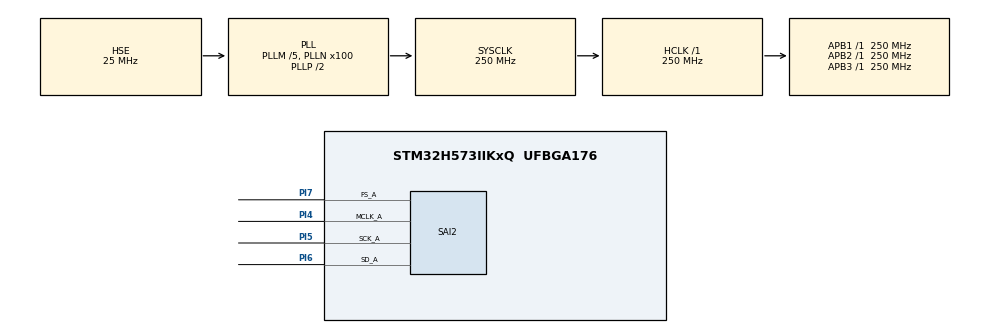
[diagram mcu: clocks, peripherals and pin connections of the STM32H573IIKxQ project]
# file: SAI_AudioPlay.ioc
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CORTEX_M33_NS.userName=CORTEX_M33
GPDMA1.LINKEDLISTMODE_GPDMACH7=DMA_LINKEDLIST_CIRCULAR
GPDMA1.PRIORITY_LL_GPDMACH7=DMA_HIGH_PRIORITY
Linkedlist.MDMA_Channel0.GP_SW.0.BlkHWRequest=DMA_BREQ_SINGLE_BURST
Linkedlist.MDMA_Channel0.GP_SW.0.DataHandling=NONE
Linkedlist.MDMA_Channel0.GP_SW.0.DataSize=0
Linkedlist.MDMA_Channel0.GP_SW.0.DestBurstLength=1
Linkedlist.MDMA_Channel0.GP_SW.0.DestDataWidth=DMA_DEST_DATAWIDTH_HALFWORD
Linkedlist.MDMA_Channel0.GP_SW.0.DestInc=DMA_DINC_FIXED
Linkedlist.MDMA_Channel0.GP_SW.0.Direction=DMA_MEMORY_TO_PERIPH
Linkedlist.MDMA_Channel0.GP_SW.0.DstAddress=0
Linkedlist.MDMA_Channel0.GP_SW.0.Instance=MDMA_Channel0
Linkedlist.MDMA_Channel0.GP_SW.0.LL_MASTERDMA=GPDMA1
Linkedlist.MDMA_Channel0.GP_SW.0.LL_NAME=SAIQueue
Linkedlist.MDMA_Channel0.GP_SW.0.LL_TYPE=LINEAR
Linkedlist.MDMA_Channel0.GP_SW.0.Mode=DMA_NORMAL
Linkedlist.MDMA_Channel0.GP_SW.0.NODE_NAME=NodeTx
Linkedlist.MDMA_Channel0.GP_SW.0.Requestforcodegen=GPDMA1_REQUEST_SAI2_A
Linkedlist.MDMA_Channel0.GP_SW.0.SrcAddress=0
Linkedlist.MDMA_Channel0.GP_SW.0.SrcBurstLength=1
Linkedlist.MDMA_Channel0.GP_SW.0.SrcDataWidth=DMA_SRC_DATAWIDTH_HALFWORD
Linkedlist.MDMA_Channel0.GP_SW.0.SrcInc=DMA_SINC_INCREMENTED
Linkedlist.MDMA_Channel0.GP_SW.0.TransferAllocatedPortSrc=DMA_SRC_ALLOCATED_PORT0
Linkedlist.MDMA_Channel0.GP_SW.0.TransferEventMode=DMA_TCEM_BLOCK_TRANSFER
Linkedlist.MDMA_Channel0.GP_SW.0.TriggerPolarity=DMA_TRIG_POLARITY_MASKED
Linkedlist.MDMA_Channel0.Request0=GP_SW
Linkedlist.MDMA_Channel0.RequestsNb=1
Linkedlist.RequestSet0=MDMA_Channel0
Linkedlist.RequestSetsNb=1
Mcu.Family=STM32H5
Mcu.Name=STM32H573IIKxQ
Mcu.Package=UFBGA176
NVIC.GPDMA1_Channel7_IRQn=true\:0\:0\:false\:false\:true\:true\:true\:true
NVIC.PriorityGroup=NVIC_PRIORITYGROUP_4
PH0-OSC_IN(PH0).Mode=HSE-DIG-External-Clock-Source
PH0-OSC_IN(PH0).Signal=RCC_OSC_IN
PI4.Mode=SAI_A_MasterWithClock
PI4.Signal=SAI2_MCLK_A
PI5.Mode=SAI_A_MasterWithClock
PI5.Signal=SAI2_SCK_A
PI6.Mode=SAI_A_MasterWithClock
PI6.Signal=SAI2_SD_A
PI7.Mode=SAI_A_MasterWithClock
PI7.Signal=SAI2_FS_A
ProjectManager.HeapSize=0x200
ProjectManager.StackSize=0x400
ProjectManager.TargetToolchain=EWARM V9.20
RCC.ADCFreq_Value=250000000
RCC.AHBFreq_Value=250000000
RCC.APB1Freq_Value=250000000
RCC.APB1TimFreq_Value=250000000
RCC.APB2Freq_Value=250000000
RCC.APB2TimFreq_Value=250000000
RCC.APB3Freq_Value=250000000
RCC.CSI_VALUE=4000000
RCC.CortexFreq_Value=250000000
RCC.EPOD_VALUE=25000000
RCC.HCLKFreq_Value=250000000
RCC.HSE_VALUE=25000000
RCC.HSI48_VALUE=48000000
RCC.HSIDiv=RCC_HSI_DIV1
RCC.HSI_VALUE=64000000
RCC.LSE_VALUE=32768
RCC.LSIRC_VALUE=32000
RCC.PLL2M=16
RCC.PLL2N=80
RCC.PLL2P=28
RCC.PLL2Source=RCC_PLL2_SOURCE_HSI
RCC.PLLM=5
RCC.PLLN=100
RCC.PLLSourceVirtual=RCC_PLL1_SOURCE_HSE
RCC.SYSCLKFreq_VALUE=250000000
RCC.SYSCLKSource=RCC_SYSCLKSOURCE_PLLCLK
RCC.USBFreq_Value=48000000
RCC.VCOOutputFreq_Value=500000000
SAI2.ActiveFrameLength-SAI_A_MasterWithClock=16
SAI2.AudioFrequency-SAI_A_MasterWithClock=SAI_AUDIO_FREQUENCY_22K
SAI2.DataSize-SAI_A_MasterWithClock=SAI_DATASIZE_16
SAI2.ErrorAudioFreq-SAI_A_MasterWithClock=1.45 %
SAI2.FIFOThreshold-SAI_A_MasterWithClock=SAI_FIFOTHRESHOLD_1QF
SAI2.FSDefinition-SAI_A_MasterWithClock=SAI_FS_CHANNEL_IDENTIFICATION
SAI2.FSOffset-SAI_A_MasterWithClock=SAI_FS_BEFOREFIRSTBIT
SAI2.FrameLength-SAI_A_MasterWithClock=32
SAI2.Instance-SAI_A_MasterWithClock=SAI$Index_Block_A
SAI2.MckOutput-SAI_A_MasterWithClock=SAI_MCK_OUTPUT_ENABLE
SAI2.RealAudioFreq-SAI_A_MasterWithClock=22.321 KHz
SAI2.SlotActive-SAI_A_MasterWithClock=0x00000003
SAI2.SlotNumber-SAI_A_MasterWithClock=2
SAI2.VirtualMode-SAI_A_MasterWithClock=VM_MASTER
SAI2.VirtualSlotActive-SAI_A_MasterWithClock=SAI_SLOT_USERSETTING
SAI2.VirtualSlotActive0-SAI_A_MasterWithClock=true
SAI2.VirtualSlotActive1-SAI_A_MasterWithClock=true
VP_GPDMA1_VS_GPDMACH7.Mode=LINKEDLIST_GPDMACH7
VP_ICACHE_VS_ICACHE.Mode=DefaultMode
VP_PWR_VS_SECSignals.Mode=Security/Privilege
board=custom

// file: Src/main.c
/* USER CODE BEGIN Header */
/**
  ******************************************************************************
  * @file           : main.c
  * @brief          : Main program body
  ******************************************************************************
  * @attention
  *
  * Copyright (c) 2023 STMicroelectronics.
  * All rights reserved.
  *
  * This software is licensed under terms that can be found in the LICENSE file
  * in the root directory of this software component.
  * If no LICENSE file comes with this software, it is provided AS-IS.
  *
  ******************************************************************************
  */
/* USER CODE END Header */
#include "main.h"

/* USER CODE BEGIN Includes */
#include "linked_list.h"
/* USER CODE END Includes */

DMA_HandleTypeDef handle_GPDMA1_Channel7;

SAI_HandleTypeDef hsai_BlockA2;

/* USER CODE BEGIN PV */
static AUDIO_Drv_t *AudioDrv = NULL;
void *AudioCompObj;

/* Buffer location should aligned to cache line size (32 bytes) */
uint16_t PlayBuff[PLAY_BUFF_SIZE];

__IO int16_t UpdatePointer = -1;
  CS42L51_Init_t codec_init;
 extern DMA_QListTypeDef SAIQueue;
 extern DMA_NodeTypeDef NodeTx;

/* USER CODE END PV */

void SystemClock_Config(void);
static void MX_GPIO_Init(void);
static void MX_GPDMA1_Init(void);
static void MX_ICACHE_Init(void);
static void MX_SAI2_Init(void);
/* USER CODE BEGIN PFP */
static int32_t CS42L51_Probe(void);
static int32_t CS42L51_PowerUp(void);
/* USER CODE END PFP */

int main(void)
{

  /* USER CODE BEGIN 1 */
  /* STM32H5xx HAL library initialization:
       - Systick timer is configured by default as source of time base, but user
             can eventually implement his proper time base source (a general purpose
             timer for example or other time source), keeping in mind that Time base
             duration should be kept 1ms since PPP_TIMEOUT_VALUEs are defined and
             handled in milliseconds basis.
       - Set NVIC Group Priority to 4
       - Low Level Initialization
     */
  /* USER CODE END 1 */

  /* MCU Configuration--------------------------------------------------------*/

  /* Reset of all peripherals, Initializes the Flash interface and the Systick. */
  HAL_Init();

  /* USER CODE BEGIN Init */
  uint32_t PlaybackPosition   = PLAY_BUFF_SIZE + PLAY_HEADER;
  /* USER CODE END Init */

  /* Configure the system clock */
  SystemClock_Config();

  /* Initialize all configured peripherals */
  MX_GPIO_Init();
  MX_GPDMA1_Init();
  MX_ICACHE_Init();
  MX_SAI2_Init();
  /* USER CODE BEGIN 2 */
  BSP_LED_Init(LED1);
  BSP_LED_Init(LED3);

  /* Check if the buffer has been loaded in flash */
  if(*((uint64_t *)AUDIO_FILE_ADDRESS) != 0x017EFE2446464952 ) Error_Handler();

    /* Associate the DMA handle */
  __HAL_LINKDMA(&hsai_BlockA2, hdmatx, handle_GPDMA1_Channel7);

   MX_SAIQueue_Config();

  /* DMA node configuration declaration */
  DMA_NodeConfTypeDef pNodeConfig;

  /* Set node configuration ################################################*/
  pNodeConfig.NodeType = DMA_GPDMA_LINEAR_NODE;
  pNodeConfig.Init.Request = GPDMA1_REQUEST_SAI2_A;
  pNodeConfig.Init.BlkHWRequest = DMA_BREQ_SINGLE_BURST;
  pNodeConfig.Init.Direction = DMA_MEMORY_TO_PERIPH;
  pNodeConfig.Init.SrcInc = DMA_SINC_INCREMENTED;
  pNodeConfig.Init.DestInc = DMA_DINC_FIXED;
  pNodeConfig.Init.SrcDataWidth = DMA_SRC_DATAWIDTH_HALFWORD;
  pNodeConfig.Init.DestDataWidth = DMA_DEST_DATAWIDTH_HALFWORD;
  pNodeConfig.Init.SrcBurstLength = 1;
  pNodeConfig.Init.DestBurstLength = 1;
  pNodeConfig.Init.Mode = DMA_NORMAL;
  pNodeConfig.Init.TransferAllocatedPort = DMA_SRC_ALLOCATED_PORT0|DMA_DEST_ALLOCATED_PORT0;
  pNodeConfig.Init.TransferEventMode = DMA_TCEM_BLOCK_TRANSFER;
  pNodeConfig.TriggerConfig.TriggerPolarity = DMA_TRIG_POLARITY_MASKED;
  pNodeConfig.DataHandlingConfig.DataExchange = DMA_EXCHANGE_NONE;
  pNodeConfig.DataHandlingConfig.DataAlignment = DMA_DATA_RIGHTALIGN_ZEROPADDED;
  pNodeConfig.SrcAddress = 0;
  pNodeConfig.DstAddress = 0;
  pNodeConfig.DataSize = 0;

  /* Build NodeTx Node */
  HAL_DMAEx_List_BuildNode(&pNodeConfig, &NodeTx);

  /* Insert NodeTx to Queue */
  HAL_DMAEx_List_InsertNode_Tail(&SAIQueue, &NodeTx);

  /* Set queue circular mode for sai queue */
  HAL_DMAEx_List_SetCircularMode(&SAIQueue);

  /* Link SAI queue to DMA channel */
  HAL_DMAEx_List_LinkQ(&handle_GPDMA1_Channel7, &SAIQueue);

  CS42L51_PowerUp();
  CS42L51_Probe();

 /* Fill codec_init structure */
 codec_init.InputDevice  = CS42L51_IN_NONE;
 codec_init.OutputDevice = CS42L51_OUT_HEADPHONE;
 codec_init.Frequency    = AUDIO_FREQUENCY_22K;
 codec_init.Resolution   = CS42L51_RESOLUTION_16B; /* Not used */
 codec_init.Volume       = 80;

 /* Initialize the codec internal registers */
 if(AudioDrv->Init(AudioCompObj, &codec_init) < 0)
 {
   Error_Handler();
 }

  /* Initialize the data buffer */
  for(int i=0; i < PLAY_BUFF_SIZE; i+=2)
  {
    PlayBuff[i]=*((__IO uint16_t *)(AUDIO_FILE_ADDRESS + PLAY_HEADER + i));
  }

  /* Start the playback */
  if(0 != AudioDrv->Play(AudioCompObj))
  {
    Error_Handler();
  }

  if(HAL_OK != HAL_SAI_Transmit_DMA(&hsai_BlockA2, (uint8_t *)PlayBuff, PLAY_BUFF_SIZE))
  {
    Error_Handler();
  }

  /* USER CODE END 2 */

  /* Infinite loop */
  while (1)
  {

    /* USER CODE BEGIN 3 */
     BSP_LED_Toggle(LED1);

    /* Wait a callback event */
    while(UpdatePointer==-1);

    int position = UpdatePointer;
    UpdatePointer = -1;

    /* Update the first or the second part of the buffer */
    for(int i = 0; i < PLAY_BUFF_SIZE/2; i++)
    {
      PlayBuff[i+position] = *(uint16_t *)(AUDIO_FILE_ADDRESS + PlaybackPosition);
      PlaybackPosition+=2;
    }

    /* check the end of the file */
    if((PlaybackPosition+PLAY_BUFF_SIZE/2) > AUDIO_FILE_SIZE)
    {
      PlaybackPosition = PLAY_HEADER;
    }

    if(UpdatePointer != -1)
    {
      /* Buffer update time is too long compare to the data transfer time */
      Error_Handler();
    }
  }
  /* USER CODE END 3 */
}

void SystemClock_Config(void)
{
  RCC_OscInitTypeDef RCC_OscInitStruct = {0};
  RCC_ClkInitTypeDef RCC_ClkInitStruct = {0};

  /** Configure the main internal regulator output voltage
  */
  __HAL_PWR_VOLTAGESCALING_CONFIG(PWR_REGULATOR_VOLTAGE_SCALE0);

  while(!__HAL_PWR_GET_FLAG(PWR_FLAG_VOSRDY)) {}

  /** Initializes the RCC Oscillators according to the specified parameters
  * in the RCC_OscInitTypeDef structure.
  */
  RCC_OscInitStruct.OscillatorType = RCC_OSCILLATORTYPE_HSI|RCC_OSCILLATORTYPE_HSE;
  RCC_OscInitStruct.HSEState = RCC_HSE_BYPASS_DIGITAL;
  RCC_OscInitStruct.HSIState = RCC_HSI_ON;
  RCC_OscInitStruct.HSIDiv = RCC_HSI_DIV1;
  RCC_OscInitStruct.HSICalibrationValue = RCC_HSICALIBRATION_DEFAULT;
  RCC_OscInitStruct.PLL.PLLState = RCC_PLL_ON;
  RCC_OscInitStruct.PLL.PLLSource = RCC_PLL1_SOURCE_HSE;
  RCC_OscInitStruct.PLL.PLLM = 5;
  RCC_OscInitStruct.PLL.PLLN = 100;
  RCC_OscInitStruct.PLL.PLLP = 2;
  RCC_OscInitStruct.PLL.PLLQ = 2;
  RCC_OscInitStruct.PLL.PLLR = 2;
  RCC_OscInitStruct.PLL.PLLRGE = RCC_PLL1_VCIRANGE_2;
  RCC_OscInitStruct.PLL.PLLVCOSEL = RCC_PLL1_VCORANGE_WIDE;
  RCC_OscInitStruct.PLL.PLLFRACN = 0;
  if (HAL_RCC_OscConfig(&RCC_OscInitStruct) != HAL_OK)
  {
    Error_Handler();
  }

  /** Initializes the CPU, AHB and APB buses clocks
  */
  RCC_ClkInitStruct.ClockType = RCC_CLOCKTYPE_HCLK|RCC_CLOCKTYPE_SYSCLK
                              |RCC_CLOCKTYPE_PCLK1|RCC_CLOCKTYPE_PCLK2
                              |RCC_CLOCKTYPE_PCLK3;
  RCC_ClkInitStruct.SYSCLKSource = RCC_SYSCLKSOURCE_PLLCLK;
  RCC_ClkInitStruct.AHBCLKDivider = RCC_SYSCLK_DIV1;
  RCC_ClkInitStruct.APB1CLKDivider = RCC_HCLK_DIV1;
  RCC_ClkInitStruct.APB2CLKDivider = RCC_HCLK_DIV1;
  RCC_ClkInitStruct.APB3CLKDivider = RCC_HCLK_DIV1;

  if (HAL_RCC_ClockConfig(&RCC_ClkInitStruct, FLASH_LATENCY_5) != HAL_OK)
  {
    Error_Handler();
  }

  /** Configure the programming delay
  */
  __HAL_FLASH_SET_PROGRAM_DELAY(FLASH_PROGRAMMING_DELAY_2);
}

static void MX_GPDMA1_Init(void)
{

  /* Peripheral clock enable */
  __HAL_RCC_GPDMA1_CLK_ENABLE();

  /* GPDMA1 interrupt Init */
    HAL_NVIC_SetPriority(GPDMA1_Channel7_IRQn, 0, 0);
    HAL_NVIC_EnableIRQ(GPDMA1_Channel7_IRQn);

  handle_GPDMA1_Channel7.Instance = GPDMA1_Channel7;
  handle_GPDMA1_Channel7.InitLinkedList.Priority = DMA_HIGH_PRIORITY;
  handle_GPDMA1_Channel7.InitLinkedList.LinkStepMode = DMA_LSM_FULL_EXECUTION;
  handle_GPDMA1_Channel7.InitLinkedList.LinkAllocatedPort = DMA_LINK_ALLOCATED_PORT0;
  handle_GPDMA1_Channel7.InitLinkedList.TransferEventMode = DMA_TCEM_LAST_LL_ITEM_TRANSFER;
  handle_GPDMA1_Channel7.InitLinkedList.LinkedListMode = DMA_LINKEDLIST_CIRCULAR;
  if (HAL_DMAEx_List_Init(&handle_GPDMA1_Channel7) != HAL_OK)
  {
    Error_Handler();
  }
  if (HAL_DMA_ConfigChannelAttributes(&handle_GPDMA1_Channel7, DMA_CHANNEL_NPRIV) != HAL_OK)
  {
    Error_Handler();
  }

}

static void MX_ICACHE_Init(void)
{

  /** Enable instruction cache (default 2-ways set associative cache)
  */
  if (HAL_ICACHE_Enable() != HAL_OK)
  {
    Error_Handler();
  }

}

static void MX_SAI2_Init(void)
{

  hsai_BlockA2.Instance = SAI2_Block_A;
  hsai_BlockA2.Init.Protocol = SAI_FREE_PROTOCOL;
  hsai_BlockA2.Init.AudioMode = SAI_MODEMASTER_TX;
  hsai_BlockA2.Init.DataSize = SAI_DATASIZE_16;
  hsai_BlockA2.Init.FirstBit = SAI_FIRSTBIT_MSB;
  hsai_BlockA2.Init.ClockStrobing = SAI_CLOCKSTROBING_FALLINGEDGE;
  hsai_BlockA2.Init.Synchro = SAI_ASYNCHRONOUS;
  hsai_BlockA2.Init.OutputDrive = SAI_OUTPUTDRIVE_DISABLE;
  hsai_BlockA2.Init.NoDivider = SAI_MASTERDIVIDER_ENABLE;
  hsai_BlockA2.Init.FIFOThreshold = SAI_FIFOTHRESHOLD_1QF;
  hsai_BlockA2.Init.AudioFrequency = SAI_AUDIO_FREQUENCY_22K;
  hsai_BlockA2.Init.SynchroExt = SAI_SYNCEXT_DISABLE;
  hsai_BlockA2.Init.MckOutput = SAI_MCK_OUTPUT_ENABLE;
  hsai_BlockA2.Init.MonoStereoMode = SAI_STEREOMODE;
  hsai_BlockA2.Init.CompandingMode = SAI_NOCOMPANDING;
  hsai_BlockA2.Init.TriState = SAI_OUTPUT_NOTRELEASED;
  hsai_BlockA2.Init.PdmInit.Activation = DISABLE;
  hsai_BlockA2.Init.PdmInit.MicPairsNbr = 1;
  hsai_BlockA2.Init.PdmInit.ClockEnable = SAI_PDM_CLOCK1_ENABLE;
  hsai_BlockA2.FrameInit.FrameLength = 32;
  hsai_BlockA2.FrameInit.ActiveFrameLength = 16;
  hsai_BlockA2.FrameInit.FSDefinition = SAI_FS_CHANNEL_IDENTIFICATION;
  hsai_BlockA2.FrameInit.FSPolarity = SAI_FS_ACTIVE_LOW;
  hsai_BlockA2.FrameInit.FSOffset = SAI_FS_BEFOREFIRSTBIT;
  hsai_BlockA2.SlotInit.FirstBitOffset = 0;
  hsai_BlockA2.SlotInit.SlotSize = SAI_SLOTSIZE_DATASIZE;
  hsai_BlockA2.SlotInit.SlotNumber = 2;
  hsai_BlockA2.SlotInit.SlotActive = 0x00000003;
  if (HAL_SAI_Init(&hsai_BlockA2) != HAL_OK)
  {
    Error_Handler();
  }

}

static void MX_GPIO_Init(void)
{

  /* GPIO Ports Clock Enable */
  __HAL_RCC_GPIOI_CLK_ENABLE();
  __HAL_RCC_GPIOH_CLK_ENABLE();

}

/* USER CODE BEGIN 4 */
/**
  * @brief  Register Bus IOs if component ID is OK
  * @retval error status
  */
static int32_t CS42L51_Probe(void)
{
  int32_t                   ret = BSP_ERROR_NONE;
  CS42L51_IO_t              IOCtx;
  static CS42L51_Object_t   CS42L51Obj;
  uint32_t                  cs42l51_id;

  /* Configure the audio driver */
  IOCtx.Address     = AUDIO_I2C_ADDRESS;
  IOCtx.Init        = BSP_I2C4_Init;
  IOCtx.DeInit      = BSP_I2C4_DeInit;
  IOCtx.ReadReg     = BSP_I2C4_ReadReg;
  IOCtx.WriteReg    = BSP_I2C4_WriteReg;
  IOCtx.GetTick     = BSP_GetTick;

  if(CS42L51_RegisterBusIO (&CS42L51Obj, &IOCtx) != CS42L51_OK)
  {
    ret = BSP_ERROR_BUS_FAILURE;
  }
  else if(CS42L51_ReadID(&CS42L51Obj, &cs42l51_id) != CS42L51_OK)
  {
    ret = BSP_ERROR_COMPONENT_FAILURE;
  }
  else if((cs42l51_id & CS42L51_ID_MASK) != CS42L51_ID)
  {
    ret = BSP_ERROR_UNKNOWN_COMPONENT;
  }
  else
  {
    AudioDrv = (AUDIO_Drv_t *) &CS42L51_Driver;
    AudioCompObj = &CS42L51Obj;
  }

  return ret;
}

/**
  * @brief  Un-reset CS42L51.
  * @param  None.
  * @retval BSP status.
  */
static int32_t CS42L51_PowerUp(void)
{
  int32_t ret = BSP_ERROR_NONE;;

  GPIO_InitTypeDef  GPIO_InitStruct;

  AUDIO_NRST_ENABLE();

  /* Configure the CS42L51 reset pin */
  GPIO_InitStruct.Mode = GPIO_MODE_OUTPUT_PP;
  GPIO_InitStruct.Pull = GPIO_PULLDOWN;
  GPIO_InitStruct.Speed = GPIO_SPEED_FREQ_HIGH;
  GPIO_InitStruct.Pin = AUDIO_NRST_PIN;
  HAL_GPIO_Init(AUDIO_NRST_GPIO_PORT, &GPIO_InitStruct);
  HAL_GPIO_WritePin(AUDIO_NRST_GPIO_PORT, AUDIO_NRST_PIN, GPIO_PIN_SET);

  /* Wait 1ms according CS42L51 datasheet */
  HAL_Delay(1);

  return ret;
}

/**
  * @brief Tx Transfer completed callbacks.
  * @param  hsai : pointer to a SAI_HandleTypeDef structure that contains
  *                the configuration information for SAI module.
  * @retval None
  */
void HAL_SAI_TxCpltCallback(SAI_HandleTypeDef *hsai)
{
  UpdatePointer = PLAY_BUFF_SIZE/2;
}

/**
  * @brief Tx Transfer Half completed callbacks
  * @param  hsai : pointer to a SAI_HandleTypeDef structure that contains
  *                the configuration information for SAI module.
  * @retval None
  */
void HAL_SAI_TxHalfCpltCallback(SAI_HandleTypeDef *hsai)
{
  UpdatePointer = 0;
}

/* USER CODE END 4 */

void Error_Handler(void)
{
  /* USER CODE BEGIN Error_Handler_Debug */
  /* LED3 On in error case */
  BSP_LED_On(LED3);
  __disable_irq();
  while (1)
  {
  }
  /* USER CODE END Error_Handler_Debug */
}
